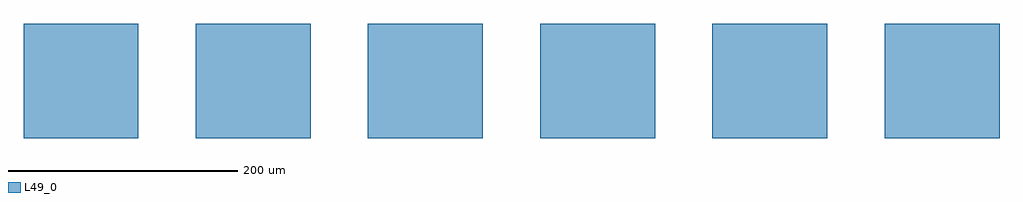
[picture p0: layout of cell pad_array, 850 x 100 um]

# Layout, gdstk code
import gdstk
lib = gdstk.Library(unit=1e-6, precision=1e-09)
def R(c, l, rs):  # rectangles x0, y0, x1, y1
    for r in rs: c.add(gdstk.rectangle(r[:2], r[2:], *l))
def A(c, l, x, y, w, h, nx, ny, dx, dy):  # array of equal rectangles
    R(c, l, [(x+i*dx, y+j*dy, x+i*dx+w, y+j*dy+h) for i in range(nx) for j in range(ny)])
L49_0 = (49, 0)

pad_array = lib.new_cell('pad_array')
A(pad_array, L49_0, -50, -50, 100, 100, 6, 1, 150, 0)

lib.write_gds('pad_array.gds')
